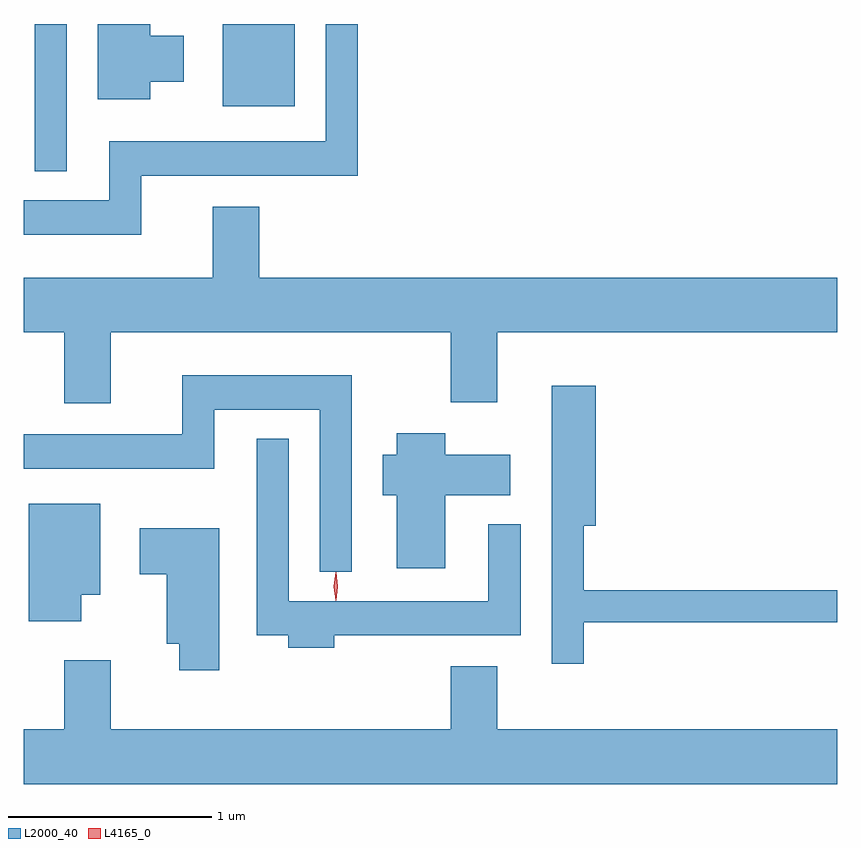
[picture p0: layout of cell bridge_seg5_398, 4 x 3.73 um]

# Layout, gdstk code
import gdstk
lib = gdstk.Library(unit=1e-6, precision=1e-09)
def R(c, l, rs):  # rectangles x0, y0, x1, y1
    for r in rs: c.add(gdstk.rectangle(r[:2], r[2:], *l))
def P(c, l, *ps):  # polygons
    for p in ps: c.add(gdstk.Polygon(p, *l))
L2000_40 = (2000, 40)
L4165_0 = (4165, 0)

bridge_seg5_398 = lib.new_cell('bridge_seg5_398')
R(bridge_seg5_398, L2000_40, [(583.106,1524.188,583.264,1524.911), (584.031,1524.506,584.384,1524.911)])
P(bridge_seg5_398, L2000_40, [(583.674,1524.626),(583.839,1524.626),(583.839,1524.854),(583.674,1524.854),(583.674,1524.911),(583.416,1524.911),(583.416,1524.541),(583.674,1524.541)],
  [(583.629,1524.166),(584.694,1524.166),(584.694,1524.911),(584.536,1524.911),(584.536,1524.334),(583.471,1524.334),(583.471,1524.044),(583.051,1524.044),(583.051,1523.876),(583.629,1523.876)],
  [(583.479,1523.396),(585.151,1523.396),(585.151,1523.051),(585.379,1523.051),(585.379,1523.396),(587.051,1523.396),(587.051,1523.664),(584.209,1523.664),(584.209,1524.014),(583.981,1524.014),(583.981,1523.664),(583.051,1523.664),(583.051,1523.396),(583.251,1523.396),(583.251,1523.046),(583.479,1523.046)],
  [(584.664,1523.184),(583.831,1523.184),(583.831,1522.894),(583.051,1522.894),(583.051,1522.726),(583.989,1522.726),(583.989,1523.016),(584.506,1523.016),(584.506,1522.218),(584.664,1522.218)],
  [(585.804,1521.971),(587.051,1521.971),(587.051,1522.129),(585.804,1522.129),(585.804,1522.446),(585.864,1522.446),(585.864,1523.134),(585.646,1523.134),(585.646,1521.768),(585.804,1521.768)],
  [(585.124,1522.596),(585.444,1522.596),(585.444,1522.794),(585.124,1522.794),(585.124,1522.899),(584.886,1522.899),(584.886,1522.794),(584.816,1522.794),(584.816,1522.596),(584.886,1522.596),(584.886,1522.236),(585.124,1522.236)],
  [(584.579,1521.906),(585.494,1521.906),(585.494,1522.453),(585.336,1522.453),(585.336,1522.074),(584.354,1522.074),(584.354,1522.873),(584.196,1522.873),(584.196,1521.906),(584.351,1521.906),(584.351,1521.846),(584.579,1521.846)],
  [(583.334,1522.106),(583.429,1522.106),(583.429,1522.554),(583.076,1522.554),(583.076,1521.976),(583.334,1521.976)],
  [(584.014,1522.434),(583.621,1522.434),(583.621,1522.206),(583.756,1522.206),(583.756,1521.866),(583.816,1521.866),(583.816,1521.736),(584.014,1521.736)],
  [(587.051,1521.444),(585.379,1521.444),(585.379,1521.754),(585.151,1521.754),(585.151,1521.444),(583.479,1521.444),(583.479,1521.784),(583.251,1521.784),(583.251,1521.444),(583.051,1521.444),(583.051,1521.176),(587.051,1521.176)])
P(bridge_seg5_398, L4165_0, [(584.586,1522.079),(584.586,1522.08),(584.576,1522.146),(584.586,1522.212),(584.586,1522.213),(584.587,1522.212),(584.596,1522.146),(584.587,1522.08)],
  [(584.586,1522.077),(584.586,1522.078),(584.576,1522.147),(584.586,1522.216),(584.586,1522.216),(584.587,1522.216),(584.596,1522.147),(584.587,1522.078)])

lib.write_gds('bridge_seg5_398.gds')
